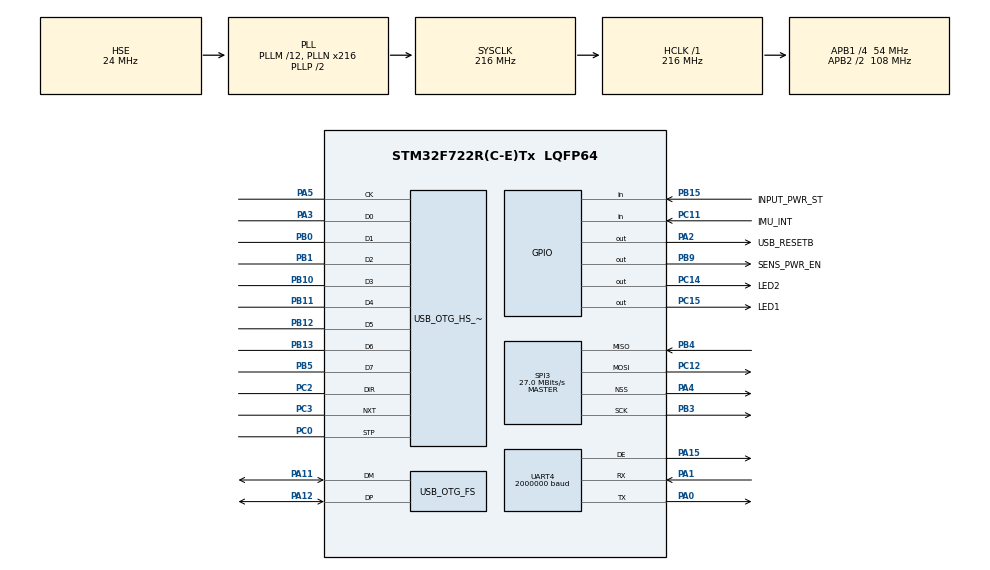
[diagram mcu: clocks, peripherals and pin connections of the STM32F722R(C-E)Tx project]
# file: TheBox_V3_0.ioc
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CRC.CRCLength=CRC_POLYLENGTH_16B
CRC.DefaultPolynomialUse=DEFAULT_POLYNOMIAL_DISABLE
CRC.GeneratingPolynomial=X15+X1+X0
CRC.InputDataInversionMode=CRC_INPUTDATA_INVERSION_BYTE
CRC.OutputDataInversionMode=CRC_OUTPUTDATA_INVERSION_ENABLE
Dma.Request0=UART4_RX
Dma.Request1=UART4_TX
Dma.UART4_RX.0.Direction=DMA_PERIPH_TO_MEMORY
Dma.UART4_RX.0.FIFOMode=DMA_FIFOMODE_DISABLE
Dma.UART4_RX.0.Instance=DMA1_Stream2
Dma.UART4_RX.0.MemDataAlignment=DMA_MDATAALIGN_BYTE
Dma.UART4_RX.0.MemInc=DMA_MINC_ENABLE
Dma.UART4_RX.0.Mode=DMA_NORMAL
Dma.UART4_RX.0.PeriphDataAlignment=DMA_PDATAALIGN_BYTE
Dma.UART4_RX.0.PeriphInc=DMA_PINC_DISABLE
Dma.UART4_RX.0.Priority=DMA_PRIORITY_HIGH
Dma.UART4_TX.1.Direction=DMA_MEMORY_TO_PERIPH
Dma.UART4_TX.1.FIFOMode=DMA_FIFOMODE_DISABLE
Dma.UART4_TX.1.Instance=DMA1_Stream4
Dma.UART4_TX.1.MemDataAlignment=DMA_MDATAALIGN_BYTE
Dma.UART4_TX.1.MemInc=DMA_MINC_ENABLE
Dma.UART4_TX.1.Mode=DMA_NORMAL
Dma.UART4_TX.1.PeriphDataAlignment=DMA_PDATAALIGN_BYTE
Dma.UART4_TX.1.PeriphInc=DMA_PINC_DISABLE
Dma.UART4_TX.1.Priority=DMA_PRIORITY_HIGH
IWDG.Prescaler=IWDG_PRESCALER_64
Mcu.Family=STM32F7
Mcu.Name=STM32F722R(C-E)Tx
Mcu.Package=LQFP64
NVIC.DMA1_Stream2_IRQn=true\:0\:0\:false\:false\:true\:false\:true\:true
NVIC.DMA1_Stream4_IRQn=true\:0\:0\:false\:false\:true\:false\:true\:true
NVIC.OTG_FS_IRQn=true\:0\:0\:false\:false\:true\:false\:true\:true
NVIC.OTG_HS_IRQn=true\:0\:0\:false\:false\:true\:false\:true\:true
NVIC.PriorityGroup=NVIC_PRIORITYGROUP_4
NVIC.TIM2_IRQn=true\:0\:0\:false\:false\:true\:true\:true\:true
PA0-WKUP.Mode=Asynchronous
PA0-WKUP.Signal=UART4_TX
PA1.GPIO_PuPd=GPIO_PULLUP
PA1.Mode=Asynchronous
PA1.Signal=UART4_RX
PA11.Mode=Device_Only
PA11.Signal=USB_OTG_FS_DM
PA12.Mode=Device_Only
PA12.Signal=USB_OTG_FS_DP
PA13.Mode=Serial_Wire
PA13.Signal=SYS_JTMS-SWDIO
PA14.Mode=Serial_Wire
PA14.Signal=SYS_JTCK-SWCLK
PA15.GPIO_PuPd=GPIO_PULLDOWN
PA15.Mode=Hardware Flow Control (RS485)
PA15.Signal=UART4_DE
PA2.GPIO_Label=USB_RESETB
PA2.GPIO_PuPd=GPIO_PULLUP
PA2.Signal=GPIO_Output
PA3.Mode=External_Phy_Device
PA3.Signal=USB_OTG_HS_ULPI_D0
PA4.Mode=NSS_Signal_Hard_Output
PA4.Signal=SPI3_NSS
PA5.Mode=External_Phy_Device
PA5.Signal=USB_OTG_HS_ULPI_CK
PB0.Mode=External_Phy_Device
PB0.Signal=USB_OTG_HS_ULPI_D1
PB1.Mode=External_Phy_Device
PB1.Signal=USB_OTG_HS_ULPI_D2
PB10.Mode=External_Phy_Device
PB10.Signal=USB_OTG_HS_ULPI_D3
PB11.Mode=External_Phy_Device
PB11.Signal=USB_OTG_HS_ULPI_D4
PB12.Mode=External_Phy_Device
PB12.Signal=USB_OTG_HS_ULPI_D5
PB13.Mode=External_Phy_Device
PB13.Signal=USB_OTG_HS_ULPI_D6
PB15.GPIO_Label=INPUT_PWR_ST
PB15.Signal=GPIO_Input
PB3.Mode=Full_Duplex_Master
PB3.Signal=SPI3_SCK
PB4.Mode=Full_Duplex_Master
PB4.Signal=SPI3_MISO
PB5.Mode=External_Phy_Device
PB5.Signal=USB_OTG_HS_ULPI_D7
PB9.GPIO_Label=SENS_PWR_EN
PB9.Signal=GPIO_Output
PC0.Mode=External_Phy_Device
PC0.Signal=USB_OTG_HS_ULPI_STP
PC11.GPIO_Label=IMU_INT
PC11.Signal=GPIO_Input
PC12.Mode=Full_Duplex_Master
PC12.Signal=SPI3_MOSI
PC14-OSC32_IN.GPIO_Label=LED2
PC14-OSC32_IN.GPIO_ModeDefaultOutputPP=GPIO_MODE_OUTPUT_PP
PC14-OSC32_IN.GPIO_PuPd=GPIO_PULLUP
PC14-OSC32_IN.Signal=GPIO_Output
PC15-OSC32_OUT.GPIO_Label=LED1
PC15-OSC32_OUT.GPIO_PuPd=GPIO_PULLUP
PC15-OSC32_OUT.Signal=GPIO_Output
PC2.Mode=External_Phy_Device
PC2.Signal=USB_OTG_HS_ULPI_DIR
PC3.Mode=External_Phy_Device
PC3.Signal=USB_OTG_HS_ULPI_NXT
PH0-OSC_IN.Mode=HSE-External-Oscillator
PH0-OSC_IN.Signal=RCC_OSC_IN
PH1-OSC_OUT.Mode=HSE-External-Oscillator
PH1-OSC_OUT.Signal=RCC_OSC_OUT
ProjectManager.HeapSize=0x2000
ProjectManager.StackSize=0x4000
ProjectManager.TargetToolchain=CMake
RCC.AHBFreq_Value=216000000
RCC.APB1CLKDivider=RCC_HCLK_DIV4
RCC.APB1Freq_Value=54000000
RCC.APB1TimFreq_Value=108000000
RCC.APB2CLKDivider=RCC_HCLK_DIV2
RCC.APB2Freq_Value=108000000
RCC.APB2TimFreq_Value=216000000
RCC.CortexFreq_Value=216000000
RCC.HCLKFreq_Value=216000000
RCC.HSE_VALUE=24000000
RCC.HSI_VALUE=16000000
RCC.LSE_VALUE=32768
RCC.PLLM=12
RCC.PLLN=216
RCC.PLLQ=9
RCC.PLLSAIN=96
RCC.PLLSAIP=RCC_PLLSAIP_DIV4
RCC.SYSCLKFreq_VALUE=216000000
RCC.SYSCLKSource=RCC_SYSCLKSOURCE_PLLCLK
RCC.UART4CLockSelection=RCC_UART4CLKSOURCE_SYSCLK
RCC.UART5CLockSelection=RCC_UART5CLKSOURCE_SYSCLK
RCC.USART1CLockSelection=RCC_USART1CLKSOURCE_SYSCLK
RCC.USART3CLockSelection=RCC_USART3CLKSOURCE_SYSCLK
RCC.USART6CLockSelection=RCC_USART6CLKSOURCE_SYSCLK
RCC.USBFreq_Value=48000000
RCC.VCOOutputFreq_Value=432000000
SPI3.CalculateBaudRate=27.0 MBits/s
SPI3.DataSize=SPI_DATASIZE_8BIT
SPI3.Direction=SPI_DIRECTION_2LINES
SPI3.Mode=SPI_MODE_MASTER
SPI3.VirtualNSS=VM_NSSHARD
SPI3.VirtualType=VM_MASTER
TIM2.Period=999999
TIM2.Prescaler=215
TIM4.Prescaler=215
UART4.BaudRate=2000000
UART4.OverSampling=UART_OVERSAMPLING_8
USB_DEVICE.CLASS_NAME_FS=CDC
USB_DEVICE.CLASS_NAME_HS=CDC
USB_DEVICE.VirtualMode-CDC_FS=Cdc
USB_DEVICE.VirtualMode-CDC_HS=Cdc
USB_DEVICE.VirtualModeFS=Cdc_FS
USB_DEVICE.VirtualModeHS=Cdc_HS
USB_OTG_FS.VirtualMode=Device_Only
USB_OTG_HS.Sof_enable-External_Phy_Device=DISABLE
USB_OTG_HS.VirtualMode-External_Phy_Device=Ext_Phy_Device
USB_OTG_HS.low_power_enable-External_Phy_Device=DISABLE
VP_CRC_VS_CRC.Mode=CRC_Activate
VP_IWDG_VS_IWDG.Mode=IWDG_Activate
VP_TIM2_VS_ClockSourceINT.Mode=Internal
VP_TIM4_VS_ClockSourceINT.Mode=Internal
VP_USB_DEVICE_VS_USB_DEVICE_CDC_FS.Mode=CDC_FS
VP_USB_DEVICE_VS_USB_DEVICE_CDC_HS.Mode=CDC_HS
board=custom

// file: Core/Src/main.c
/* USER CODE BEGIN Header */
/**
  ******************************************************************************
  * @file           : main.c
  * @brief          : Main program body
  ******************************************************************************
  * @attention
  *
  * Copyright (c) 2026 STMicroelectronics.
  * All rights reserved.
  *
  * This software is licensed under terms that can be found in the LICENSE file
  * in the root directory of this software component.
  * If no LICENSE file comes with this software, it is provided AS-IS.
  *
  ******************************************************************************
  */
/* USER CODE END Header */
#include "main.h"
#include "usb_device.h"

/* USER CODE BEGIN Includes */
#include "modbus_rtu.h"
#include "mag_sensor.h"
#include "ICM42688P.h"
#include "usb_comm.h"
#include "usb_device.h"
#include "usbd_cdc_if.h"
#include <string.h>
#include <stdio.h>
/* USER CODE END Includes */

/* USER CODE BEGIN PD */
// 看门狗功能开关：设置为1启用，设置为0禁用（默认关闭）
#define USE_IWDG    0
/* USER CODE END PD */

CRC_HandleTypeDef hcrc;

IWDG_HandleTypeDef hiwdg;

SPI_HandleTypeDef hspi3;

TIM_HandleTypeDef htim2;
TIM_HandleTypeDef htim4;

UART_HandleTypeDef huart4;
DMA_HandleTypeDef hdma_uart4_rx;
DMA_HandleTypeDef hdma_uart4_tx;

/* USER CODE BEGIN PV */
// USB通信相关标志
volatile uint8_t usb_get_sensor_data_flag = 1;
volatile uint8_t usb_set_sensor_cfg_flag = 0;
volatile uint8_t usb_get_sensor_cfg_flag = 0;
uint8_t usb_to_485_buf[256];

/* USER CODE END PV */

void SystemClock_Config(void);
static void MX_GPIO_Init(void);
static void MX_DMA_Init(void);
static void MX_UART4_Init(void);
static void MX_SPI3_Init(void);
static void MX_CRC_Init(void);
static void MX_TIM2_Init(void);
static void MX_TIM4_Init(void);
static void MX_IWDG_Init(void);

int main(void)
{

  /* MCU Configuration--------------------------------------------------------*/

  /* Reset of all peripherals, Initializes the Flash interface and the Systick. */
  HAL_Init();

  /* Configure the system clock */
  SystemClock_Config();

  /* Initialize all configured peripherals */
  MX_GPIO_Init();
  MX_DMA_Init();
  MX_UART4_Init();
  MX_SPI3_Init();
  MX_CRC_Init();
  MX_USB_DEVICE_Init();
  MX_TIM2_Init();
  MX_TIM4_Init();
  MX_IWDG_Init();
  /* USER CODE BEGIN 2 */
  // 初始化USB设备
  MX_USB_DEVICE_Init();

  // 初始化USB通信层
  usb_comm_init();

  // 初始化时间戳
  mcu_timestamp = 0;
  TIM2_time_s = 0;
  sensor_pkg_cnt = 0;
  sensor_err_pkg_cnt = 0;
  static uint16_t led_cnt = 0;

  // 使能传感器电源
  HAL_GPIO_WritePin(SENS_PWR_EN_GPIO_Port, SENS_PWR_EN_Pin, GPIO_PIN_SET);

  // 清空rx_buf，开启DMA空闲中断接收
  HAL_UARTEx_ReceiveToIdle_DMA(&huart4, rx_buf, RX_BUF_SIZE);
  __HAL_DMA_DISABLE_IT(&hdma_uart4_rx, DMA_IT_HT);

  // 等待传感器上电稳定（看门狗超时约8.2秒，1秒延时无需喂狗）
  HAL_Delay(1000);
  #if USE_IWDG
  HAL_IWDG_Refresh(&hiwdg);  // 上电延时后喂狗
  #endif

  // 检查已有的SlaveID，配置slaveID_map[8]
  HAL_StatusTypeDef state = Check_MagSensors_SlaveID();

  // 初始化新接入的传感器
  state = Get_MagSensors_Plugged();
  while(state == HAL_OK) {
    state = Get_MagSensors_Plugged();
  };

  // 更新配置
  for(uint8_t i = 0; i < sensor_num; i++) {
    Get_MagSensor_Config(&mag_sensor[i]);
    HAL_Delay(1);
  }

  // 初始化IMU
  ICM42688_Init();

  // 初始化完成后喂狗（看门狗超时约8.2秒，初始化阶段总耗时<8秒）
  #if USE_IWDG
  HAL_IWDG_Refresh(&hiwdg);
  #endif

  /* USER CODE END 2 */

  /* Infinite loop */
  while (1)
  {

    /* USER CODE BEGIN 3 */
    // 传感器数据采集和发送
    if(usb_get_sensor_data_flag == 1) {
      // 触发测量
      Modbus_CMD60_TriggerMeasurement(MB_Broadcast_ID);
      Update_TimeStamp();
      HAL_Delay(5);

      // 获取传感器数据
      Get_MagSensors_Data();

      // 打包并发送到USB
      uint16_t PC_buf_size = PC_TRANS_Assemble(mcu_timestamp);
      #if USE_USB_HS
        CDC_Transmit_HS(PC_Trans_Buff, PC_buf_size);
      #else
        CDC_Transmit_FS(PC_Trans_Buff, PC_buf_size);
      #endif
    }

    // 处理配置设置命令
    if(usb_set_sensor_cfg_flag == 1) {
      // 响应帧头: 0x55 0xAA 0xFF (3字节)
      PC_Trans_Buff[0] = 0x55;
      PC_Trans_Buff[1] = 0xaa;
      PC_Trans_Buff[2] = 0xff;

      if(Set_MagSensor_Config(usb_to_485_buf) == HAL_OK) {
        memcpy(&PC_Trans_Buff[3], usb_to_485_buf, usb_to_485_buf[2] + 6);
        uint16_t crc16 = HAL_CRC_Calculate(&hcrc, (uint32_t *)PC_Trans_Buff, usb_to_485_buf[2] + 9);
        PC_Trans_Buff[usb_to_485_buf[2] + 9] = (crc16      ) & 0xff;
        PC_Trans_Buff[usb_to_485_buf[2] + 10] = (crc16 >>  8) & 0xff;
        #if USE_USB_HS
          CDC_Transmit_HS(PC_Trans_Buff, usb_to_485_buf[2] + 11);
        #else
          CDC_Transmit_FS(PC_Trans_Buff, usb_to_485_buf[2] + 11);
        #endif
      } else {
        // 错误响应: 帧头 + 3字节错误码
        PC_Trans_Buff[3] = 0x00;
        PC_Trans_Buff[4] = 0x00;
        PC_Trans_Buff[5] = 0x00;
        uint16_t crc16 = HAL_CRC_Calculate(&hcrc, (uint32_t *)PC_Trans_Buff, 6);
        PC_Trans_Buff[6] = (crc16      ) & 0xff;
        PC_Trans_Buff[7] = (crc16 >>  8) & 0xff;
        #if USE_USB_HS
          CDC_Transmit_HS(PC_Trans_Buff, 8);
        #else
          CDC_Transmit_FS(PC_Trans_Buff, 8);
        #endif
      }
      usb_set_sensor_cfg_flag = 0;
    }

    // 处理配置读取命令
    if(usb_get_sensor_cfg_flag == 1) {
      for(uint8_t i = 0; i < sensor_num; i++) {
        if(usb_to_485_buf[0] == mag_sensor[i].sensor_pub_cfg.mb_slave_id ||
           usb_to_485_buf[0] == MB_Broadcast_ID) {
          // 响应帧头: 0x55 0xAA 0xFF (3字节)
          PC_Trans_Buff[0] = 0x55;
          PC_Trans_Buff[1] = 0xaa;
          PC_Trans_Buff[2] = 0xff;

          if(Get_MagSensor_Config(&mag_sensor[i]) == HAL_OK) {
            memcpy(&PC_Trans_Buff[3], (uint8_t *)&mag_sensor[i].sensor_pub_cfg, sizeof(SENSOR_Public_Config_t));
            uint16_t crc16 = HAL_CRC_Calculate(&hcrc, (uint32_t *)PC_Trans_Buff, sizeof(SENSOR_Public_Config_t) + 3);
            PC_Trans_Buff[sizeof(SENSOR_Public_Config_t) + 3] = (crc16      ) & 0xff;
            PC_Trans_Buff[sizeof(SENSOR_Public_Config_t) + 4] = (crc16 >>  8) & 0xff;
            #if USE_USB_HS
              CDC_Transmit_HS(PC_Trans_Buff, sizeof(SENSOR_Public_Config_t) + 5);
            #else
              CDC_Transmit_FS(PC_Trans_Buff, sizeof(SENSOR_Public_Config_t) + 5);
            #endif
          } else {
            // 错误响应: 帧头 + 3字节错误码
            PC_Trans_Buff[3] = 0x00;
            PC_Trans_Buff[4] = 0x00;
            PC_Trans_Buff[5] = 0x00;
            uint16_t crc16 = HAL_CRC_Calculate(&hcrc, (uint32_t *)PC_Trans_Buff, 6);
            PC_Trans_Buff[6] = (crc16      ) & 0xff;
            PC_Trans_Buff[7] = (crc16 >>  8) & 0xff;
            #if USE_USB_HS
              CDC_Transmit_HS(PC_Trans_Buff, 8);
            #else
              CDC_Transmit_FS(PC_Trans_Buff, 8);
            #endif
          }
        }
      }
      usb_get_sensor_cfg_flag = 0;
    }

    // LED指示灯闪烁
    led_cnt++;
    if(led_cnt > 100) {
      HAL_GPIO_TogglePin(LED2_GPIO_Port, LED2_Pin);
      #if USE_IWDG
      // 喂看门狗（超时约8.2秒，每500ms喂一次）
      HAL_IWDG_Refresh(&hiwdg);
      #endif
      led_cnt = 0;
    }

    HAL_Delay(5);
  }
  /* USER CODE END 3 */
}

void SystemClock_Config(void)
{
  RCC_OscInitTypeDef RCC_OscInitStruct = {0};
  RCC_ClkInitTypeDef RCC_ClkInitStruct = {0};

  /** Configure the main internal regulator output voltage
  */
  __HAL_RCC_PWR_CLK_ENABLE();
  __HAL_PWR_VOLTAGESCALING_CONFIG(PWR_REGULATOR_VOLTAGE_SCALE1);

  /** Initializes the RCC Oscillators according to the specified parameters
  * in the RCC_OscInitTypeDef structure.
  */
  RCC_OscInitStruct.OscillatorType = RCC_OSCILLATORTYPE_LSI|RCC_OSCILLATORTYPE_HSE;
  RCC_OscInitStruct.HSEState = RCC_HSE_ON;
  RCC_OscInitStruct.LSIState = RCC_LSI_ON;
  RCC_OscInitStruct.PLL.PLLState = RCC_PLL_ON;
  RCC_OscInitStruct.PLL.PLLSource = RCC_PLLSOURCE_HSE;
  RCC_OscInitStruct.PLL.PLLM = 12;
  RCC_OscInitStruct.PLL.PLLN = 216;
  RCC_OscInitStruct.PLL.PLLP = RCC_PLLP_DIV2;
  RCC_OscInitStruct.PLL.PLLQ = 9;
  if (HAL_RCC_OscConfig(&RCC_OscInitStruct) != HAL_OK)
  {
    Error_Handler();
  }

  /** Activate the Over-Drive mode
  */
  if (HAL_PWREx_EnableOverDrive() != HAL_OK)
  {
    Error_Handler();
  }

  /** Initializes the CPU, AHB and APB buses clocks
  */
  RCC_ClkInitStruct.ClockType = RCC_CLOCKTYPE_HCLK|RCC_CLOCKTYPE_SYSCLK
                              |RCC_CLOCKTYPE_PCLK1|RCC_CLOCKTYPE_PCLK2;
  RCC_ClkInitStruct.SYSCLKSource = RCC_SYSCLKSOURCE_PLLCLK;
  RCC_ClkInitStruct.AHBCLKDivider = RCC_SYSCLK_DIV1;
  RCC_ClkInitStruct.APB1CLKDivider = RCC_HCLK_DIV4;
  RCC_ClkInitStruct.APB2CLKDivider = RCC_HCLK_DIV2;

  if (HAL_RCC_ClockConfig(&RCC_ClkInitStruct, FLASH_LATENCY_7) != HAL_OK)
  {
    Error_Handler();
  }
}

static void MX_CRC_Init(void)
{

  hcrc.Instance = CRC;
  hcrc.Init.DefaultPolynomialUse = DEFAULT_POLYNOMIAL_DISABLE;
  hcrc.Init.DefaultInitValueUse = DEFAULT_INIT_VALUE_ENABLE;
  hcrc.Init.GeneratingPolynomial = 32771;
  hcrc.Init.CRCLength = CRC_POLYLENGTH_16B;
  hcrc.Init.InputDataInversionMode = CRC_INPUTDATA_INVERSION_BYTE;
  hcrc.Init.OutputDataInversionMode = CRC_OUTPUTDATA_INVERSION_ENABLE;
  hcrc.InputDataFormat = CRC_INPUTDATA_FORMAT_BYTES;
  if (HAL_CRC_Init(&hcrc) != HAL_OK)
  {
    Error_Handler();
  }

}

static void MX_IWDG_Init(void)
{

  hiwdg.Instance = IWDG;
  hiwdg.Init.Prescaler = IWDG_PRESCALER_64;
  hiwdg.Init.Window = 4095;
  hiwdg.Init.Reload = 4095;
  if (HAL_IWDG_Init(&hiwdg) != HAL_OK)
  {
    Error_Handler();
  }

}

static void MX_SPI3_Init(void)
{

  /* SPI3 parameter configuration*/
  hspi3.Instance = SPI3;
  hspi3.Init.Mode = SPI_MODE_MASTER;
  hspi3.Init.Direction = SPI_DIRECTION_2LINES;
  hspi3.Init.DataSize = SPI_DATASIZE_8BIT;
  hspi3.Init.CLKPolarity = SPI_POLARITY_LOW;
  hspi3.Init.CLKPhase = SPI_PHASE_1EDGE;
  hspi3.Init.NSS = SPI_NSS_HARD_OUTPUT;
  hspi3.Init.BaudRatePrescaler = SPI_BAUDRATEPRESCALER_2;
  hspi3.Init.FirstBit = SPI_FIRSTBIT_MSB;
  hspi3.Init.TIMode = SPI_TIMODE_DISABLE;
  hspi3.Init.CRCCalculation = SPI_CRCCALCULATION_DISABLE;
  hspi3.Init.CRCPolynomial = 7;
  hspi3.Init.CRCLength = SPI_CRC_LENGTH_DATASIZE;
  hspi3.Init.NSSPMode = SPI_NSS_PULSE_ENABLE;
  if (HAL_SPI_Init(&hspi3) != HAL_OK)
  {
    Error_Handler();
  }

}

static void MX_TIM2_Init(void)
{

  TIM_ClockConfigTypeDef sClockSourceConfig = {0};
  TIM_MasterConfigTypeDef sMasterConfig = {0};

  htim2.Instance = TIM2;
  htim2.Init.Prescaler = 215;
  htim2.Init.CounterMode = TIM_COUNTERMODE_UP;
  htim2.Init.Period = 999999;
  htim2.Init.ClockDivision = TIM_CLOCKDIVISION_DIV1;
  htim2.Init.AutoReloadPreload = TIM_AUTORELOAD_PRELOAD_DISABLE;
  if (HAL_TIM_Base_Init(&htim2) != HAL_OK)
  {
    Error_Handler();
  }
  sClockSourceConfig.ClockSource = TIM_CLOCKSOURCE_INTERNAL;
  if (HAL_TIM_ConfigClockSource(&htim2, &sClockSourceConfig) != HAL_OK)
  {
    Error_Handler();
  }
  sMasterConfig.MasterOutputTrigger = TIM_TRGO_RESET;
  sMasterConfig.MasterSlaveMode = TIM_MASTERSLAVEMODE_DISABLE;
  if (HAL_TIMEx_MasterConfigSynchronization(&htim2, &sMasterConfig) != HAL_OK)
  {
    Error_Handler();
  }
  /* USER CODE BEGIN TIM2_Init 2 */
  __HAL_TIM_CLEAR_IT(&htim2,TIM_IT_UPDATE);
  __HAL_TIM_ENABLE_IT(&htim2,TIM_IT_UPDATE);
  __HAL_TIM_SET_COUNTER(&htim2, 0);
  __HAL_TIM_ENABLE(&htim2);
  /* USER CODE END TIM2_Init 2 */

}

static void MX_TIM4_Init(void)
{

  TIM_ClockConfigTypeDef sClockSourceConfig = {0};
  TIM_MasterConfigTypeDef sMasterConfig = {0};

  htim4.Instance = TIM4;
  htim4.Init.Prescaler = 215;
  htim4.Init.CounterMode = TIM_COUNTERMODE_UP;
  htim4.Init.Period = 65535;
  htim4.Init.ClockDivision = TIM_CLOCKDIVISION_DIV1;
  htim4.Init.AutoReloadPreload = TIM_AUTORELOAD_PRELOAD_DISABLE;
  if (HAL_TIM_Base_Init(&htim4) != HAL_OK)
  {
    Error_Handler();
  }
  sClockSourceConfig.ClockSource = TIM_CLOCKSOURCE_INTERNAL;
  if (HAL_TIM_ConfigClockSource(&htim4, &sClockSourceConfig) != HAL_OK)
  {
    Error_Handler();
  }
  sMasterConfig.MasterOutputTrigger = TIM_TRGO_RESET;
  sMasterConfig.MasterSlaveMode = TIM_MASTERSLAVEMODE_DISABLE;
  if (HAL_TIMEx_MasterConfigSynchronization(&htim4, &sMasterConfig) != HAL_OK)
  {
    Error_Handler();
  }
  /* USER CODE BEGIN TIM4_Init 2 */
  __HAL_TIM_SET_COUNTER(&htim4, 0);
  __HAL_TIM_ENABLE(&htim4);
  /* USER CODE END TIM4_Init 2 */

}

static void MX_UART4_Init(void)
{

  huart4.Instance = UART4;
  huart4.Init.BaudRate = 2000000;
  huart4.Init.WordLength = UART_WORDLENGTH_8B;
  huart4.Init.StopBits = UART_STOPBITS_1;
  huart4.Init.Parity = UART_PARITY_NONE;
  huart4.Init.Mode = UART_MODE_TX_RX;
  huart4.Init.HwFlowCtl = UART_HWCONTROL_NONE;
  huart4.Init.OverSampling = UART_OVERSAMPLING_8;
  huart4.Init.OneBitSampling = UART_ONE_BIT_SAMPLE_DISABLE;
  huart4.AdvancedInit.AdvFeatureInit = UART_ADVFEATURE_NO_INIT;
  // // 先初始化UART
  // if (HAL_UART_Init(&huart4) != HAL_OK)
  // {
  //   Error_Handler();
  // }
  if (HAL_RS485Ex_Init(&huart4, UART_DE_POLARITY_HIGH, 0, 0) != HAL_OK)
  {
    Error_Handler();
  }

}

static void MX_DMA_Init(void)
{

  /* DMA controller clock enable */
  __HAL_RCC_DMA1_CLK_ENABLE();

  /* DMA interrupt init */
  /* DMA1_Stream2_IRQn interrupt configuration */
  HAL_NVIC_SetPriority(DMA1_Stream2_IRQn, 0, 0);
  HAL_NVIC_EnableIRQ(DMA1_Stream2_IRQn);
  /* DMA1_Stream4_IRQn interrupt configuration */
  HAL_NVIC_SetPriority(DMA1_Stream4_IRQn, 0, 0);
  HAL_NVIC_EnableIRQ(DMA1_Stream4_IRQn);

}

static void MX_GPIO_Init(void)
{
  GPIO_InitTypeDef GPIO_InitStruct = {0};

  /* GPIO Ports Clock Enable */
  __HAL_RCC_GPIOC_CLK_ENABLE();
  __HAL_RCC_GPIOH_CLK_ENABLE();
  __HAL_RCC_GPIOA_CLK_ENABLE();
  __HAL_RCC_GPIOB_CLK_ENABLE();

  /*Configure GPIO pin Output Level */
  HAL_GPIO_WritePin(GPIOC, LED2_Pin|LED1_Pin, GPIO_PIN_RESET);

  /*Configure GPIO pin Output Level */
  HAL_GPIO_WritePin(USB_RESETB_GPIO_Port, USB_RESETB_Pin, GPIO_PIN_RESET);

  /*Configure GPIO pin Output Level */
  HAL_GPIO_WritePin(SENS_PWR_EN_GPIO_Port, SENS_PWR_EN_Pin, GPIO_PIN_RESET);

  /*Configure GPIO pins : LED2_Pin LED1_Pin */
  GPIO_InitStruct.Pin = LED2_Pin|LED1_Pin;
  GPIO_InitStruct.Mode = GPIO_MODE_OUTPUT_PP;
  GPIO_InitStruct.Pull = GPIO_PULLUP;
  GPIO_InitStruct.Speed = GPIO_SPEED_FREQ_LOW;
  HAL_GPIO_Init(GPIOC, &GPIO_InitStruct);

  /*Configure GPIO pin : USB_RESETB_Pin */
  GPIO_InitStruct.Pin = USB_RESETB_Pin;
  GPIO_InitStruct.Mode = GPIO_MODE_OUTPUT_PP;
  GPIO_InitStruct.Pull = GPIO_PULLUP;
  GPIO_InitStruct.Speed = GPIO_SPEED_FREQ_LOW;
  HAL_GPIO_Init(USB_RESETB_GPIO_Port, &GPIO_InitStruct);

  /*Configure GPIO pin : INPUT_PWR_ST_Pin */
  GPIO_InitStruct.Pin = INPUT_PWR_ST_Pin;
  GPIO_InitStruct.Mode = GPIO_MODE_INPUT;
  GPIO_InitStruct.Pull = GPIO_NOPULL;
  HAL_GPIO_Init(INPUT_PWR_ST_GPIO_Port, &GPIO_InitStruct);

  /*Configure GPIO pin : IMU_INT_Pin */
  GPIO_InitStruct.Pin = IMU_INT_Pin;
  GPIO_InitStruct.Mode = GPIO_MODE_INPUT;
  GPIO_InitStruct.Pull = GPIO_NOPULL;
  HAL_GPIO_Init(IMU_INT_GPIO_Port, &GPIO_InitStruct);

  /*Configure GPIO pin : SENS_PWR_EN_Pin */
  GPIO_InitStruct.Pin = SENS_PWR_EN_Pin;
  GPIO_InitStruct.Mode = GPIO_MODE_OUTPUT_PP;
  GPIO_InitStruct.Pull = GPIO_NOPULL;
  GPIO_InitStruct.Speed = GPIO_SPEED_FREQ_LOW;
  HAL_GPIO_Init(SENS_PWR_EN_GPIO_Port, &GPIO_InitStruct);

}

/* USER CODE BEGIN 4 */
/**
  * @brief  Period elapsed callback in non blocking mode
  * @note   This function is called when TIM2 or TIM6 interrupt took place,
  *         inside HAL_TIM_IRQHandler(). It makes a direct call to HAL_IncTick()
  *         to increment a global variable "uwTick" used as application time base.
  * @param  htim : TIM handle
  * @retval None
  */
void HAL_TIM_PeriodElapsedCallback(TIM_HandleTypeDef *htim)
{
  /* USER CODE BEGIN Callback 0 */

  /* USER CODE END Callback 0 */
  if (htim->Instance == TIM6)
  {
    HAL_IncTick();
  }
  /* USER CODE BEGIN Callback 1 */
  if (htim->Instance == TIM2){
    TIM2_time_s++;  // 时间戳秒计数器递增
  }
  /* USER CODE END Callback 1 */
}
/* USER CODE END 4 */

void Error_Handler(void)
{
  __disable_irq();
  while (1)
  {
  }
}
